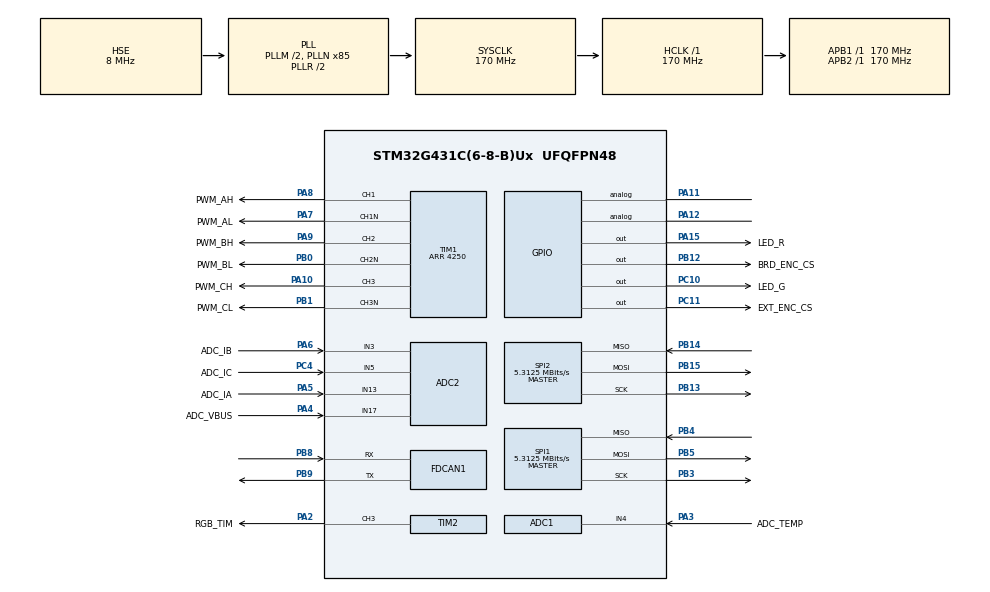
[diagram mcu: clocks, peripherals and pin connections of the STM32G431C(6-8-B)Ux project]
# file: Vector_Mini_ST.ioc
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ADC1.Channel-0\#ChannelRegularConversion=ADC_CHANNEL_4
ADC1.EnableInjectedConversion=ENABLE
ADC1.ExternalTrigInjecConv=ADC_EXTERNALTRIGINJEC_T1_CC4
ADC1.ExternalTrigInjecConvEdge=ADC_EXTERNALTRIGINJECCONV_EDGE_FALLING
ADC1.InjNumberOfConversion=1
ADC1.InjectedChannel-1\#ChannelInjectedConversion=ADC_CHANNEL_4
ADC1.InjectedOffsetNumber-1\#ChannelInjectedConversion=ADC_OFFSET_NONE
ADC1.InjectedRank-1\#ChannelInjectedConversion=1
ADC1.InjectedSamplingTime-1\#ChannelInjectedConversion=ADC_SAMPLETIME_2CYCLES_5
ADC1.NbrOfConversionFlag=1
ADC1.OffsetNumber-0\#ChannelRegularConversion=ADC_OFFSET_NONE
ADC1.Rank-0\#ChannelRegularConversion=1
ADC1.Rank1_Channel=ADC_CHANNEL_4
ADC1.SamplingTime-0\#ChannelRegularConversion=ADC_SAMPLETIME_2CYCLES_5
ADC1.master=1
ADC2.ContinuousConvMode=DISABLE
ADC2.EnableInjectedConversion=ENABLE
ADC2.EnableInjectedOversampling=DISABLE
ADC2.EnableRegularConversion=DISABLE
ADC2.ExternalTrigInjecConv=ADC_EXTERNALTRIGINJEC_T1_CC4
ADC2.ExternalTrigInjecConvEdge=ADC_EXTERNALTRIGINJECCONV_EDGE_FALLING
ADC2.InjNumberOfConversion=4
ADC2.InjectedChannel-1\#ChannelInjectedConversion=ADC_CHANNEL_13
ADC2.InjectedChannel-2\#ChannelInjectedConversion=ADC_CHANNEL_3
ADC2.InjectedChannel-3\#ChannelInjectedConversion=ADC_CHANNEL_5
ADC2.InjectedChannel-4\#ChannelInjectedConversion=ADC_CHANNEL_17
ADC2.InjectedOffsetNumber-1\#ChannelInjectedConversion=ADC_OFFSET_NONE
ADC2.InjectedOffsetNumber-2\#ChannelInjectedConversion=ADC_OFFSET_NONE
ADC2.InjectedOffsetNumber-3\#ChannelInjectedConversion=ADC_OFFSET_NONE
ADC2.InjectedOffsetNumber-4\#ChannelInjectedConversion=ADC_OFFSET_NONE
ADC2.InjectedRank-1\#ChannelInjectedConversion=1
ADC2.InjectedRank-2\#ChannelInjectedConversion=2
ADC2.InjectedRank-3\#ChannelInjectedConversion=3
ADC2.InjectedRank-4\#ChannelInjectedConversion=4
ADC2.InjectedSamplingTime-1\#ChannelInjectedConversion=ADC_SAMPLETIME_6CYCLES_5
ADC2.InjectedSamplingTime-2\#ChannelInjectedConversion=ADC_SAMPLETIME_6CYCLES_5
ADC2.InjectedSamplingTime-3\#ChannelInjectedConversion=ADC_SAMPLETIME_6CYCLES_5
ADC2.InjectedSamplingTime-4\#ChannelInjectedConversion=ADC_SAMPLETIME_12CYCLES_5
Dma.Request0=TIM2_CH3
Dma.TIM2_CH3.0.Direction=DMA_MEMORY_TO_PERIPH
Dma.TIM2_CH3.0.EventEnable=DISABLE
Dma.TIM2_CH3.0.Instance=DMA1_Channel1
Dma.TIM2_CH3.0.MemDataAlignment=DMA_MDATAALIGN_HALFWORD
Dma.TIM2_CH3.0.MemInc=DMA_MINC_ENABLE
Dma.TIM2_CH3.0.Mode=DMA_NORMAL
Dma.TIM2_CH3.0.PeriphDataAlignment=DMA_PDATAALIGN_WORD
Dma.TIM2_CH3.0.PeriphInc=DMA_PINC_DISABLE
Dma.TIM2_CH3.0.Polarity=HAL_DMAMUX_REQ_GEN_RISING
Dma.TIM2_CH3.0.Priority=DMA_PRIORITY_LOW
Dma.TIM2_CH3.0.RequestNumber=1
Dma.TIM2_CH3.0.SignalID=NONE
Dma.TIM2_CH3.0.SyncEnable=DISABLE
Dma.TIM2_CH3.0.SyncPolarity=HAL_DMAMUX_SYNC_NO_EVENT
Dma.TIM2_CH3.0.SyncRequestNumber=1
Dma.TIM2_CH3.0.SyncSignalID=NONE
FDCAN1.AutoRetransmission=ENABLE
FDCAN1.CalculateBaudRateNominal=1000000
FDCAN1.CalculateTimeBitNominal=1000
FDCAN1.CalculateTimeQuantumNominal=58.82352941176471
FDCAN1.DataPrescaler=2
FDCAN1.DataTimeSeg1=12
FDCAN1.DataTimeSeg2=4
FDCAN1.ExtFiltersNbr=0
FDCAN1.FrameFormat=FDCAN_FRAME_FD_BRS
FDCAN1.NominalPrescaler=10
FDCAN1.NominalTimeSeg1=12
FDCAN1.NominalTimeSeg2=4
FDCAN1.StdFiltersNbr=8
FDCAN1.TxFifoQueueMode=FDCAN_TX_QUEUE_OPERATION
Mcu.Family=STM32G4
Mcu.Name=STM32G431C(6-8-B)Ux
Mcu.Package=UFQFPN48
NVIC.ADC1_2_IRQn=true\:0\:0\:false\:false\:true\:true\:true\:true
NVIC.DMA1_Channel1_IRQn=true\:5\:0\:true\:false\:true\:false\:true\:true
NVIC.FDCAN1_IT0_IRQn=true\:1\:0\:true\:false\:true\:true\:true\:true
NVIC.PriorityGroup=NVIC_PRIORITYGROUP_4
NVIC.TIM7_IRQn=true\:3\:0\:true\:false\:true\:true\:true\:true
PA10.GPIO_Label=PWM_CH
PA10.Signal=S_TIM1_CH3
PA10.Stacked=true
PA13.Mode=Serial_Wire
PA13.Signal=SYS_JTMS-SWDIO
PA14.Mode=Serial_Wire
PA14.Signal=SYS_JTCK-SWCLK
PA15.GPIO_Label=LED_R
PA15.GPIO_PuPd=GPIO_PULLUP
PA15.GPIO_Speed=GPIO_SPEED_FREQ_VERY_HIGH
PA15.PinState=GPIO_PIN_SET
PA15.Signal=GPIO_Output
PA2.GPIO_Label=RGB_TIM
PA2.Signal=S_TIM2_CH3
PA2.Stacked=true
PA3.GPIO_Label=ADC_TEMP
PA3.Mode=IN4-Single-Ended
PA3.Signal=ADC1_IN4
PA3.Stacked=true
PA4.GPIO_Label=ADC_VBUS
PA4.Mode=IN17-Single-Ended
PA4.Signal=ADC2_IN17
PA4.Stacked=true
PA5.GPIO_Label=ADC_IA
PA5.Mode=IN13-Single-Ended
PA5.Signal=ADC2_IN13
PA5.Stacked=true
PA6.GPIO_Label=ADC_IB
PA6.Mode=IN3-Single-Ended
PA6.Signal=ADC2_IN3
PA6.Stacked=true
PA7.GPIO_Label=PWM_AL
PA7.Mode=PWM Generation1 CH1 CH1N
PA7.Signal=TIM1_CH1N
PA7.Stacked=true
PA8.GPIO_Label=PWM_AH
PA8.Signal=S_TIM1_CH1
PA8.Stacked=true
PA9.GPIO_Label=PWM_BH
PA9.Signal=S_TIM1_CH2
PA9.Stacked=true
PB0.GPIO_Label=PWM_BL
PB0.Mode=PWM Generation2 CH2 CH2N
PB0.Signal=TIM1_CH2N
PB0.Stacked=true
PB1.GPIO_Label=PWM_CL
PB1.Mode=PWM Generation3 CH3 CH3N
PB1.Signal=TIM1_CH3N
PB1.Stacked=true
PB12.GPIO_Label=BRD_ENC_CS
PB12.GPIO_PuPd=GPIO_PULLUP
PB12.GPIO_Speed=GPIO_SPEED_FREQ_VERY_HIGH
PB12.PinState=GPIO_PIN_SET
PB12.Signal=GPIO_Output
PB12.Stacked=true
PB13.Mode=Full_Duplex_Master
PB13.Signal=SPI2_SCK
PB13.Stacked=true
PB14.Mode=Full_Duplex_Master
PB14.Signal=SPI2_MISO
PB14.Stacked=true
PB15.Mode=Full_Duplex_Master
PB15.Signal=SPI2_MOSI
PB15.Stacked=true
PB3.Mode=Full_Duplex_Master
PB3.Signal=SPI1_SCK
PB3.Stacked=true
PB4.Mode=Full_Duplex_Master
PB4.Signal=SPI1_MISO
PB4.Stacked=true
PB5.Mode=Full_Duplex_Master
PB5.Signal=SPI1_MOSI
PB5.Stacked=true
PB6.Mode=Asynchronous
PB6.Stacked=true
PB7.Mode=Asynchronous
PB7.Stacked=true
PB8-BOOT0.Mode=FDCAN_Activate
PB8-BOOT0.Signal=FDCAN1_RX
PB8-BOOT0.Stacked=true
PB9.Mode=FDCAN_Activate
PB9.Signal=FDCAN1_TX
PB9.Stacked=true
PC10.GPIO_Label=LED_G
PC10.GPIO_PuPd=GPIO_PULLUP
PC10.GPIO_Speed=GPIO_SPEED_FREQ_VERY_HIGH
PC10.PinState=GPIO_PIN_SET
PC10.Signal=GPIO_Output
PC11.GPIO_Label=EXT_ENC_CS
PC11.GPIO_PuPd=GPIO_PULLUP
PC11.GPIO_Speed=GPIO_SPEED_FREQ_VERY_HIGH
PC11.PinState=GPIO_PIN_SET
PC11.Signal=GPIO_Output
PC11.Stacked=true
PC4.GPIO_Label=ADC_IC
PC4.Mode=IN5-Single-Ended
PC4.Signal=ADC2_IN5
PC4.Stacked=true
PF0-OSC_IN.Mode=HSE-External-Oscillator
PF0-OSC_IN.Signal=RCC_OSC_IN
PF1-OSC_OUT.Mode=HSE-External-Oscillator
PF1-OSC_OUT.Signal=RCC_OSC_OUT
ProjectManager.HeapSize=0x200
ProjectManager.StackSize=0x400
ProjectManager.TargetToolchain=MDK-ARM V5.32
RCC.ADC12Freq_Value=170000000
RCC.AHBFreq_Value=170000000
RCC.APB1Freq_Value=170000000
RCC.APB1TimFreq_Value=170000000
RCC.APB2Freq_Value=170000000
RCC.APB2TimFreq_Value=170000000
RCC.CortexFreq_Value=170000000
RCC.EXTERNAL_CLOCK_VALUE=12288000
RCC.HCLKFreq_Value=170000000
RCC.HSE_VALUE=8000000
RCC.HSI48_VALUE=48000000
RCC.HSI_VALUE=16000000
RCC.LSE_VALUE=32768
RCC.PLLM=RCC_PLLM_DIV2
RCC.PLLN=85
RCC.PLLSourceVirtual=RCC_PLLSOURCE_HSE
RCC.SYSCLKFreq_VALUE=170000000
RCC.SYSCLKSource=RCC_SYSCLKSOURCE_PLLCLK
RCC.VCOOutputFreq_Value=340000000
SH.S_TIM1_CH1.0=TIM1_CH1,PWM Generation1 CH1 CH1N
SH.S_TIM1_CH2.0=TIM1_CH2,PWM Generation2 CH2 CH2N
SH.S_TIM1_CH3.0=TIM1_CH3,PWM Generation3 CH3 CH3N
SH.S_TIM2_CH3.0=TIM2_CH3,PWM Generation3 CH3
SPI1.BaudRatePrescaler=SPI_BAUDRATEPRESCALER_32
SPI1.CLKPhase=SPI_PHASE_2EDGE
SPI1.CalculateBaudRate=5.3125 MBits/s
SPI1.DataSize=SPI_DATASIZE_16BIT
SPI1.Direction=SPI_DIRECTION_2LINES
SPI1.Mode=SPI_MODE_MASTER
SPI1.VirtualType=VM_MASTER
SPI2.BaudRatePrescaler=SPI_BAUDRATEPRESCALER_32
SPI2.CLKPhase=SPI_PHASE_2EDGE
SPI2.CRCCalculation=SPI_CRCCALCULATION_DISABLE
SPI2.CalculateBaudRate=5.3125 MBits/s
SPI2.DataSize=SPI_DATASIZE_16BIT
SPI2.Direction=SPI_DIRECTION_2LINES
SPI2.Mode=SPI_MODE_MASTER
SPI2.VirtualType=VM_MASTER
TIM1.AutoReloadPreload=TIM_AUTORELOAD_PRELOAD_ENABLE
TIM1.Channel-PWM\ Generation1\ CH1\ CH1N=TIM_CHANNEL_1
TIM1.Channel-PWM\ Generation2\ CH2\ CH2N=TIM_CHANNEL_2
TIM1.Channel-PWM\ Generation3\ CH3\ CH3N=TIM_CHANNEL_3
TIM1.Channel-PWM\ Generation4\ No\ Output=TIM_CHANNEL_4
TIM1.CounterMode=TIM_COUNTERMODE_CENTERALIGNED1
TIM1.DeadTime=0
TIM1.Dithering=Disable
TIM1.PeriodNoDither=4250
TIM1.PulseNoDither_1=4250
TIM1.PulseNoDither_2=4250
TIM1.PulseNoDither_3=4250
TIM1.PulseNoDither_4=4240
TIM2.Channel-PWM\ Generation3\ CH3=TIM_CHANNEL_3
TIM2.PeriodNoDither=212-1
TIM2.Prescaler=1-1
TIM7.AutoReloadPreload=TIM_AUTORELOAD_PRELOAD_ENABLE
TIM7.PeriodNoDither=500-1
TIM7.Prescaler=170-1
TIM7.TIM_MasterOutputTrigger=TIM_TRGO_ENABLE
VP_SYS_VS_DBSignals.Mode=DisableDeadBatterySignals
VP_TIM1_VS_ClockSourceINT.Mode=Internal
VP_TIM1_VS_no_output4.Mode=PWM Generation4 No Output
VP_TIM2_VS_ClockSourceINT.Mode=Internal
VP_TIM7_VS_ClockSourceINT.Mode=Enable_Timer
board=custom
Mcu.IPsNb=12
PA11.Signal=GPIO_Analog
PA12.Signal=GPIO_Analog

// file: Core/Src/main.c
/* USER CODE BEGIN Header */
/**
  ******************************************************************************
  * @file           : main.c
  * @brief          : Main program body
  ******************************************************************************
  * @attention
  *
  * Copyright (c) 2025 STMicroelectronics.
  * All rights reserved.
  *
  * This software is licensed under terms that can be found in the LICENSE file
  * in the root directory of this software component.
  * If no LICENSE file comes with this software, it is provided AS-IS.
  *
  ******************************************************************************
  */
/* USER CODE END Header */
#include "main.h"
#include "adc.h"
#include "dma.h"
#include "fdcan.h"
#include "spi.h"
#include "tim.h"
#include "gpio.h"

/* USER CODE BEGIN Includes */
#include <stdbool.h>

#include "app_startup.h"
#include "boot_hw.h"
#include "control_config.h"
#include "motor_axis.h"
#include "time_hw.h"
#include "yg_protocol_runtime.h"
#include "yg_protocol_status_adapter.h"
/* USER CODE END Includes */

void SystemClock_Config(void);

int main(void)
{

  /* USER CODE BEGIN 1 */
  /* 先辨别独立APP或真实Loader交接，再由平台设置重定位向量；这里不确认试启动。 */
  (void)BootHw_Init();
  /* USER CODE END 1 */

  /* MCU Configuration--------------------------------------------------------*/

  /* Reset of all peripherals, Initializes the Flash interface and the Systick. */
  HAL_Init();

  /* Configure the system clock */
  SystemClock_Config();

  /* Initialize all configured peripherals */
  MX_GPIO_Init();
  MX_DMA_Init();
  MX_ADC2_Init();
  MX_FDCAN1_Init();
  MX_TIM1_Init();
  MX_TIM2_Init();
  MX_TIM7_Init();
  MX_ADC1_Init();
  MX_SPI1_Init();
  MX_SPI2_Init();
  /* USER CODE BEGIN 2 */
  /* 恢复快环执行预算；先启用指令预取，再启动控制器与采样中断。 */
  __HAL_FLASH_PREFETCH_BUFFER_ENABLE();
  Board_Init();
  /* USER CODE END 2 */

  /* Infinite loop */
  while (1)
  {

    /* USER CODE BEGIN 3 */
    MotorAxis_ServiceBackground();
    YgProtocolStatusAdapter_Refresh();
    YgProtocolRuntime_Service(time_hw_now_ms());
    Board_ServiceBoot(time_hw_now_ms());

  }
  /* USER CODE END 3 */
}

void SystemClock_Config(void)
{
  RCC_OscInitTypeDef RCC_OscInitStruct = {0};
  RCC_ClkInitTypeDef RCC_ClkInitStruct = {0};

  /** Configure the main internal regulator output voltage
  */
  HAL_PWREx_ControlVoltageScaling(PWR_REGULATOR_VOLTAGE_SCALE1_BOOST);

  /** Initializes the RCC Oscillators according to the specified parameters
  * in the RCC_OscInitTypeDef structure.
  */
  RCC_OscInitStruct.OscillatorType = RCC_OSCILLATORTYPE_HSE;
  RCC_OscInitStruct.HSEState = RCC_HSE_ON;
  RCC_OscInitStruct.PLL.PLLState = RCC_PLL_ON;
  RCC_OscInitStruct.PLL.PLLSource = RCC_PLLSOURCE_HSE;
  RCC_OscInitStruct.PLL.PLLM = RCC_PLLM_DIV2;
  RCC_OscInitStruct.PLL.PLLN = 85;
  RCC_OscInitStruct.PLL.PLLP = RCC_PLLP_DIV2;
  RCC_OscInitStruct.PLL.PLLQ = RCC_PLLQ_DIV2;
  RCC_OscInitStruct.PLL.PLLR = RCC_PLLR_DIV2;
  if (HAL_RCC_OscConfig(&RCC_OscInitStruct) != HAL_OK)
  {
    Error_Handler();
  }

  /** Initializes the CPU, AHB and APB buses clocks
  */
  RCC_ClkInitStruct.ClockType = RCC_CLOCKTYPE_HCLK|RCC_CLOCKTYPE_SYSCLK
                              |RCC_CLOCKTYPE_PCLK1|RCC_CLOCKTYPE_PCLK2;
  RCC_ClkInitStruct.SYSCLKSource = RCC_SYSCLKSOURCE_PLLCLK;
  RCC_ClkInitStruct.AHBCLKDivider = RCC_SYSCLK_DIV1;
  RCC_ClkInitStruct.APB1CLKDivider = RCC_HCLK_DIV1;
  RCC_ClkInitStruct.APB2CLKDivider = RCC_HCLK_DIV1;

  if (HAL_RCC_ClockConfig(&RCC_ClkInitStruct, FLASH_LATENCY_4) != HAL_OK)
  {
    Error_Handler();
  }
}

void Error_Handler(void)
{
  __disable_irq();
  while (1)
  {
  }
}
